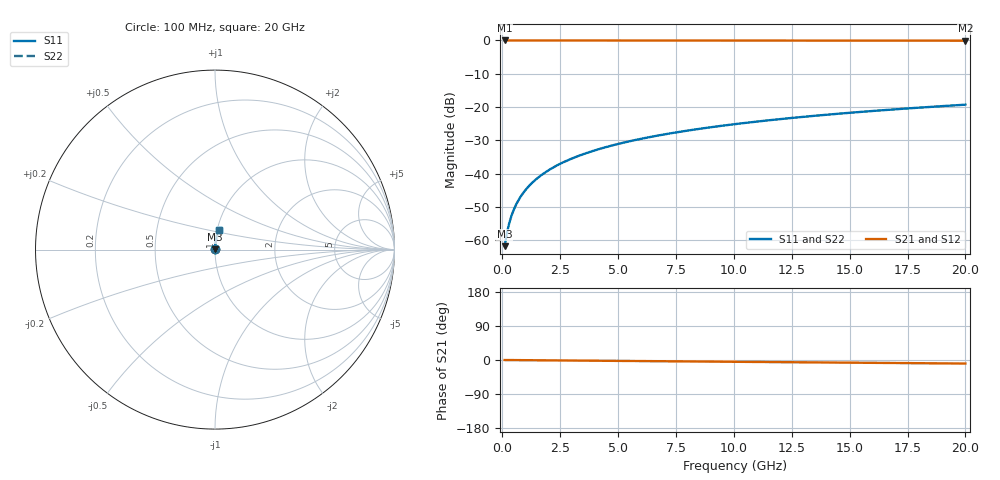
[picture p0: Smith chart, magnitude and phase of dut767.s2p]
! Touchstone file exported from HFSS 2026.1.0
!  File:  C:/ffzhzh/LocalFiles/Ansys_Project_Files/temp_train_TSV_767_1783183386_51560.aedt
!  Generated:  12:45:13 AM Jul  5, 2026
!  Design:  TSV
!  Project:  temp_train_TSV_767_1783183386_51560
! Variables:
!  h_bsmrdl = 2um
!  h_ox = 20um
!  h_rdl = 5um
!  h_sub = 61.64um
!  h_tmrdl = 5um
!  h_tsv = 61.64um
!  h_via = 3um
!  l_bsmrdl = 300um
!  l_sub = 407.14um
!  l_tmrdl = 200um
!  m_sub = 200um
!  pitch = 53.74um
!  r_tsv = 3.57um
!  s_tmrdl = 10um
!  w_bsmrdl = 18um
!  w_sub = 500um
!  w_tmrdl = 12um
!  x_tsv_center1 = 206um
!  x_tsv_center2 = 524um
!  x_tsv_center3 = 736um
!  x_tsv_center4 = 1054um
!  x_tsv_center5 = 1266um
!  x_tsv_center6 = 1584um
# GHz S MA R 50.000000
! Terminal data exported
! Port[1] = TSV1_1_T1
! Port[2] = TSV1_1_T2
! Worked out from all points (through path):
!   200 points, 100 MHz to 20 GHz, reference 50 ohm
!   highest |S21| = -0.01 dB at 100 MHz (marker M1); lowest = -0.1 dB at 20 GHz (marker M2)
!   group delay of S21, straight-line fit = 1.3 ps
!   lowest |S11| = -61.7 dB at 100 MHz (marker M3), VSWR 1.00, Z = 50.1 + j0.0578 ohm
!   |S11| at or under -10 dB: start of sweep to end of sweep
!   |S22| runs from -61.7 to -19.3 dB; largest |S21 - S12| = 4.7e-15
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0.1  0.0008221 44.6  0.9994 -0.0  0.9994 -0.0  0.0008221 44.6
! Gamma 0 0 0 0
! Port Impedance 50 0 50 0
0.2  0.001295 62.6  0.9994 -0.1  0.9994 -0.1  0.001295 62.6
0.3  0.001823 70.6  0.9994 -0.1  0.9994 -0.1  0.001823 70.6
0.4  0.002367 74.9  0.9994 -0.2  0.9994 -0.2  0.002367 74.9
0.5  0.002917 77.5  0.9994 -0.2  0.9994 -0.2  0.002917 77.5
0.6  0.003472 79.4  0.9994 -0.3  0.9994 -0.3  0.003472 79.4
0.8  0.004587 81.7  0.9994 -0.4  0.9994 -0.4  0.004587 81.7
1.1  0.006268 83.5  0.9993 -0.5  0.9993 -0.5  0.006268 83.5
1.5  0.008514 84.7  0.9993 -0.7  0.9993 -0.7  0.008514 84.7
1.8  0.0102 85.2  0.9992 -0.9  0.9992 -0.9  0.0102 85.2
2.1  0.01188 85.5  0.9992 -1.0  0.9992 -1.0  0.01188 85.5
2.7  0.01525 85.8  0.9991 -1.3  0.9991 -1.3  0.01525 85.8
3.5  0.01972 85.8  0.9989 -1.7  0.9989 -1.7  0.01972 85.8
4.2  0.02361 85.7  0.9988 -2.0  0.9988 -2.0  0.02361 85.7
5  0.02804 85.5  0.9986 -2.4  0.9986 -2.4  0.02804 85.5
5.9  0.033 85.2  0.9983 -2.8  0.9983 -2.8  0.033 85.2
6.8  0.03793 84.9  0.998 -3.2  0.998 -3.2  0.03793 84.9
8.3  0.04612 84.3  0.9975 -3.9  0.9975 -3.9  0.04612 84.3
10.1  0.05588 83.6  0.9968 -4.8  0.9968 -4.8  0.05588 83.6
13.4  0.07368 82.3  0.9954 -6.3  0.9954 -6.3  0.07368 82.3
16.7  0.09133 80.9  0.9938 -7.8  0.9938 -7.8  0.09133 80.9
20  0.1088 79.5  0.9918 -9.4  0.9918 -9.4  0.1088 79.5
